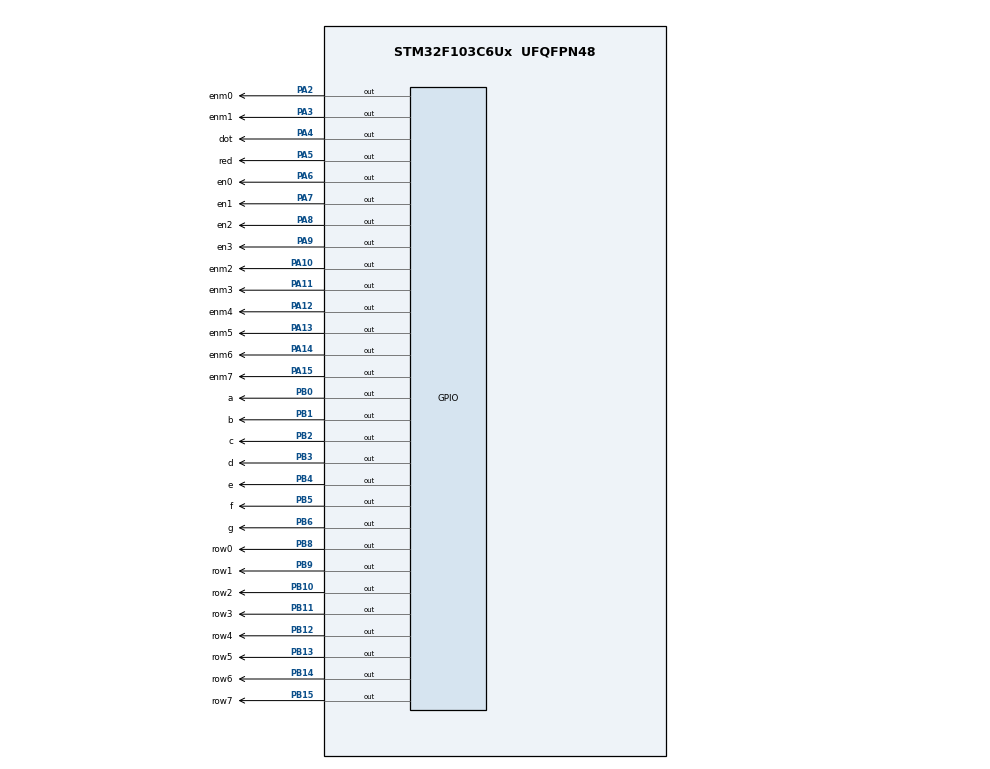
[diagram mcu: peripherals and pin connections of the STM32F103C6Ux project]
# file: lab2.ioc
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Mcu.Family=STM32F1
Mcu.Name=STM32F103C6Ux
Mcu.Package=UFQFPN48
NVIC.PriorityGroup=NVIC_PRIORITYGROUP_4
NVIC.TIM2_IRQn=true\:0\:0\:false\:false\:true\:true\:true
PA10.GPIO_Label=enm2
PA10.PinState=GPIO_PIN_RESET
PA10.Signal=GPIO_Output
PA11.GPIO_Label=enm3
PA11.PinState=GPIO_PIN_RESET
PA11.Signal=GPIO_Output
PA12.GPIO_Label=enm4
PA12.PinState=GPIO_PIN_RESET
PA12.Signal=GPIO_Output
PA13.GPIO_Label=enm5
PA13.PinState=GPIO_PIN_RESET
PA13.Signal=GPIO_Output
PA14.GPIO_Label=enm6
PA14.PinState=GPIO_PIN_RESET
PA14.Signal=GPIO_Output
PA15.GPIO_Label=enm7
PA15.PinState=GPIO_PIN_RESET
PA15.Signal=GPIO_Output
PA2.GPIO_Label=enm0
PA2.PinState=GPIO_PIN_RESET
PA2.Signal=GPIO_Output
PA3.GPIO_Label=enm1
PA3.PinState=GPIO_PIN_RESET
PA3.Signal=GPIO_Output
PA4.GPIO_Label=dot
PA4.Signal=GPIO_Output
PA5.GPIO_Label=red
PA5.Signal=GPIO_Output
PA6.GPIO_Label=en0
PA6.Signal=GPIO_Output
PA7.GPIO_Label=en1
PA7.PinState=GPIO_PIN_SET
PA7.Signal=GPIO_Output
PA8.GPIO_Label=en2
PA8.PinState=GPIO_PIN_SET
PA8.Signal=GPIO_Output
PA9.GPIO_Label=en3
PA9.PinState=GPIO_PIN_SET
PA9.Signal=GPIO_Output
PB0.GPIO_Label=a
PB0.PinState=GPIO_PIN_SET
PB0.Signal=GPIO_Output
PB1.GPIO_Label=b
PB1.Signal=GPIO_Output
PB10.GPIO_Label=row2
PB10.PinState=GPIO_PIN_SET
PB10.Signal=GPIO_Output
PB11.GPIO_Label=row3
PB11.PinState=GPIO_PIN_SET
PB11.Signal=GPIO_Output
PB12.GPIO_Label=row4
PB12.PinState=GPIO_PIN_SET
PB12.Signal=GPIO_Output
PB13.GPIO_Label=row5
PB13.PinState=GPIO_PIN_SET
PB13.Signal=GPIO_Output
PB14.GPIO_Label=row6
PB14.PinState=GPIO_PIN_SET
PB14.Signal=GPIO_Output
PB15.GPIO_Label=row7
PB15.PinState=GPIO_PIN_SET
PB15.Signal=GPIO_Output
PB2.GPIO_Label=c
PB2.Signal=GPIO_Output
PB3.GPIO_Label=d
PB3.Signal=GPIO_Output
PB4.GPIO_Label=e
PB4.Signal=GPIO_Output
PB5.GPIO_Label=f
PB5.Signal=GPIO_Output
PB6.GPIO_Label=g
PB6.Signal=GPIO_Output
PB8.GPIO_Label=row0
PB8.PinState=GPIO_PIN_SET
PB8.Signal=GPIO_Output
PB9.GPIO_Label=row1
PB9.PinState=GPIO_PIN_SET
PB9.Signal=GPIO_Output
ProjectManager.HeapSize=0x200
ProjectManager.StackSize=0x400
ProjectManager.TargetToolchain=STM32CubeIDE
RCC.APB1Freq_Value=8000000
RCC.APB2Freq_Value=8000000
TIM2.Period=9
TIM2.Prescaler=7999
VP_SYS_VS_ND.Mode=No_Debug
VP_TIM2_VS_ClockSourceINT.Mode=Internal
board=custom

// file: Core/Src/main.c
/* USER CODE BEGIN Header */
/**
  ******************************************************************************
  * @file           : main.c
  * @brief          : Main program body
  ******************************************************************************
  * @attention
  *
  * <h2><center>&copy; Copyright (c) 2023 STMicroelectronics.
  * All rights reserved.</center></h2>
  *
  * This software component is licensed by ST under BSD 3-Clause license,
  * the "License"; You may not use this file except in compliance with the
  * License. You may obtain a copy of the License at:
  *                        opensource.org/licenses/BSD-3-Clause
  *
  ******************************************************************************
  */
/* USER CODE END Header */
#include "main.h"

/* USER CODE BEGIN Includes */
#include "software_timer.h"

/* USER CODE END Includes */

TIM_HandleTypeDef htim2;

void SystemClock_Config(void);
static void MX_GPIO_Init(void);
static void MX_TIM2_Init(void);

/* USER CODE BEGIN 0 */
void display7SEG(int cnt){
	if (cnt == 0){
		HAL_GPIO_WritePin(a_GPIO_Port, a_Pin, GPIO_PIN_RESET);
		HAL_GPIO_WritePin(b_GPIO_Port, b_Pin, GPIO_PIN_RESET);
		HAL_GPIO_WritePin(c_GPIO_Port, c_Pin, GPIO_PIN_RESET);
		HAL_GPIO_WritePin(d_GPIO_Port, d_Pin, GPIO_PIN_RESET);
		HAL_GPIO_WritePin(e_GPIO_Port, e_Pin, GPIO_PIN_RESET);
		HAL_GPIO_WritePin(f_GPIO_Port, f_Pin, GPIO_PIN_RESET);
		HAL_GPIO_WritePin(g_GPIO_Port, g_Pin, GPIO_PIN_SET);
	}else if (cnt == 1){
		HAL_GPIO_WritePin(a_GPIO_Port, a_Pin, GPIO_PIN_SET);
		HAL_GPIO_WritePin(b_GPIO_Port, b_Pin, GPIO_PIN_RESET);
		HAL_GPIO_WritePin(c_GPIO_Port, c_Pin, GPIO_PIN_RESET);
		HAL_GPIO_WritePin(d_GPIO_Port, d_Pin, GPIO_PIN_SET);
		HAL_GPIO_WritePin(e_GPIO_Port, e_Pin, GPIO_PIN_SET);
		HAL_GPIO_WritePin(f_GPIO_Port, f_Pin, GPIO_PIN_SET);
		HAL_GPIO_WritePin(g_GPIO_Port, g_Pin, GPIO_PIN_SET);
	}else if (cnt == 2){
		HAL_GPIO_WritePin(a_GPIO_Port, a_Pin, GPIO_PIN_RESET);
		HAL_GPIO_WritePin(b_GPIO_Port, b_Pin, GPIO_PIN_RESET);
		HAL_GPIO_WritePin(c_GPIO_Port, c_Pin, GPIO_PIN_SET);
		HAL_GPIO_WritePin(d_GPIO_Port, d_Pin, GPIO_PIN_RESET);
		HAL_GPIO_WritePin(e_GPIO_Port, e_Pin, GPIO_PIN_RESET);
		HAL_GPIO_WritePin(f_GPIO_Port, f_Pin, GPIO_PIN_SET);
		HAL_GPIO_WritePin(g_GPIO_Port, g_Pin, GPIO_PIN_RESET);
	}else if (cnt == 3){
		HAL_GPIO_WritePin(a_GPIO_Port, a_Pin, GPIO_PIN_RESET);
		HAL_GPIO_WritePin(b_GPIO_Port, b_Pin, GPIO_PIN_RESET);
		HAL_GPIO_WritePin(c_GPIO_Port, c_Pin, GPIO_PIN_RESET);
		HAL_GPIO_WritePin(d_GPIO_Port, d_Pin, GPIO_PIN_RESET);
		HAL_GPIO_WritePin(e_GPIO_Port, e_Pin, GPIO_PIN_SET);
		HAL_GPIO_WritePin(f_GPIO_Port, f_Pin, GPIO_PIN_SET);
		HAL_GPIO_WritePin(g_GPIO_Port, g_Pin, GPIO_PIN_RESET);
	}else if (cnt == 4){
		HAL_GPIO_WritePin(a_GPIO_Port, a_Pin, GPIO_PIN_SET);
		HAL_GPIO_WritePin(b_GPIO_Port, b_Pin, GPIO_PIN_RESET);
		HAL_GPIO_WritePin(c_GPIO_Port, c_Pin, GPIO_PIN_RESET);
		HAL_GPIO_WritePin(d_GPIO_Port, d_Pin, GPIO_PIN_SET);
		HAL_GPIO_WritePin(e_GPIO_Port, e_Pin, GPIO_PIN_SET);
		HAL_GPIO_WritePin(f_GPIO_Port, f_Pin, GPIO_PIN_RESET);
		HAL_GPIO_WritePin(g_GPIO_Port, g_Pin, GPIO_PIN_RESET);
	}else if (cnt == 5){
		HAL_GPIO_WritePin(a_GPIO_Port, a_Pin, GPIO_PIN_RESET);
		HAL_GPIO_WritePin(b_GPIO_Port, b_Pin, GPIO_PIN_SET);
		HAL_GPIO_WritePin(c_GPIO_Port, c_Pin, GPIO_PIN_RESET);
		HAL_GPIO_WritePin(d_GPIO_Port, d_Pin, GPIO_PIN_RESET);
		HAL_GPIO_WritePin(e_GPIO_Port, e_Pin, GPIO_PIN_SET);
		HAL_GPIO_WritePin(f_GPIO_Port, f_Pin, GPIO_PIN_RESET);
		HAL_GPIO_WritePin(g_GPIO_Port, g_Pin, GPIO_PIN_RESET);
	}else if (cnt == 6){
		HAL_GPIO_WritePin(a_GPIO_Port, a_Pin, GPIO_PIN_RESET);
		HAL_GPIO_WritePin(b_GPIO_Port, b_Pin, GPIO_PIN_SET);
		HAL_GPIO_WritePin(c_GPIO_Port, c_Pin, GPIO_PIN_RESET);
		HAL_GPIO_WritePin(d_GPIO_Port, d_Pin, GPIO_PIN_RESET);
		HAL_GPIO_WritePin(e_GPIO_Port, e_Pin, GPIO_PIN_RESET);
		HAL_GPIO_WritePin(f_GPIO_Port, f_Pin, GPIO_PIN_RESET);
		HAL_GPIO_WritePin(g_GPIO_Port, g_Pin, GPIO_PIN_RESET);
	}else if (cnt == 7){
		HAL_GPIO_WritePin(a_GPIO_Port, a_Pin, GPIO_PIN_RESET);
		HAL_GPIO_WritePin(b_GPIO_Port, b_Pin, GPIO_PIN_RESET);
		HAL_GPIO_WritePin(c_GPIO_Port, c_Pin, GPIO_PIN_RESET);
		HAL_GPIO_WritePin(d_GPIO_Port, d_Pin, GPIO_PIN_SET);
		HAL_GPIO_WritePin(e_GPIO_Port, e_Pin, GPIO_PIN_SET);
		HAL_GPIO_WritePin(f_GPIO_Port, f_Pin, GPIO_PIN_SET);
		HAL_GPIO_WritePin(g_GPIO_Port, g_Pin, GPIO_PIN_SET);
	}else if (cnt == 8){
		HAL_GPIO_WritePin(a_GPIO_Port, a_Pin, GPIO_PIN_RESET);
		HAL_GPIO_WritePin(b_GPIO_Port, b_Pin, GPIO_PIN_RESET);
		HAL_GPIO_WritePin(c_GPIO_Port, c_Pin, GPIO_PIN_RESET);
		HAL_GPIO_WritePin(d_GPIO_Port, d_Pin, GPIO_PIN_RESET);
		HAL_GPIO_WritePin(e_GPIO_Port, e_Pin, GPIO_PIN_RESET);
		HAL_GPIO_WritePin(f_GPIO_Port, f_Pin, GPIO_PIN_RESET);
		HAL_GPIO_WritePin(g_GPIO_Port, g_Pin, GPIO_PIN_RESET);
	}else{
		HAL_GPIO_WritePin(a_GPIO_Port, a_Pin, GPIO_PIN_RESET);
		HAL_GPIO_WritePin(b_GPIO_Port, b_Pin, GPIO_PIN_RESET);
		HAL_GPIO_WritePin(c_GPIO_Port, c_Pin, GPIO_PIN_RESET);
		HAL_GPIO_WritePin(d_GPIO_Port, d_Pin, GPIO_PIN_RESET);
		HAL_GPIO_WritePin(e_GPIO_Port, e_Pin, GPIO_PIN_SET);
		HAL_GPIO_WritePin(f_GPIO_Port, f_Pin, GPIO_PIN_RESET);
		HAL_GPIO_WritePin(g_GPIO_Port, g_Pin, GPIO_PIN_RESET);
	}
}
/* USER CODE END 0 */

int main(void)
{

  /* MCU Configuration--------------------------------------------------------*/

  /* Reset of all peripherals, Initializes the Flash interface and the Systick. */
  HAL_Init();

  /* USER CODE BEGIN Init */
  setTimer1(50);
  setTimer2(100);
  int status = 1;
  /* USER CODE END Init */

  /* Configure the system clock */
  SystemClock_Config();

  /* USER CODE BEGIN SysInit */
  MX_GPIO_Init();
  MX_TIM2_Init();
  /* USER CODE END SysInit */

  /* Initialize all configured peripherals */
  MX_GPIO_Init();
  MX_TIM2_Init();
  /* USER CODE BEGIN 2 */
  HAL_TIM_Base_Start_IT (& htim2 ) ;
  /* USER CODE END 2 */

  /* Infinite loop */
  /* USER CODE BEGIN WHILE */
  while (1)
  {
	  switch(status){
	  case 1:
		  display7SEG(status);
		  if (timer1_flag == 1){
			  setTimer1(50);
			  status = 2;
			  HAL_GPIO_WritePin(en0_GPIO_Port, en0_Pin, SET);
			  HAL_GPIO_WritePin(en1_GPIO_Port, en1_Pin, RESET);
		  }break;
	  case 2:
		  display7SEG(status);
		  if (timer1_flag == 1){
			  setTimer1(50);
			  status = 1;
			  HAL_GPIO_WritePin(en0_GPIO_Port, en0_Pin, RESET);
			  HAL_GPIO_WritePin(en1_GPIO_Port, en1_Pin, SET);
		  }break;
	  default:
		  break;
	  }
	  if (timer2_flag == 1){
		  HAL_GPIO_TogglePin(red_GPIO_Port, red_Pin);
		  setTimer2(100);
	  }

    /* USER CODE END WHILE */

  }
}

void SystemClock_Config(void)
{
  RCC_OscInitTypeDef RCC_OscInitStruct = {0};
  RCC_ClkInitTypeDef RCC_ClkInitStruct = {0};

  /** Initializes the RCC Oscillators according to the specified parameters
  * in the RCC_OscInitTypeDef structure.
  */
  RCC_OscInitStruct.OscillatorType = RCC_OSCILLATORTYPE_HSI;
  RCC_OscInitStruct.HSIState = RCC_HSI_ON;
  RCC_OscInitStruct.HSICalibrationValue = RCC_HSICALIBRATION_DEFAULT;
  RCC_OscInitStruct.PLL.PLLState = RCC_PLL_NONE;
  if (HAL_RCC_OscConfig(&RCC_OscInitStruct) != HAL_OK)
  {
    Error_Handler();
  }
  /** Initializes the CPU, AHB and APB buses clocks
  */
  RCC_ClkInitStruct.ClockType = RCC_CLOCKTYPE_HCLK|RCC_CLOCKTYPE_SYSCLK
                              |RCC_CLOCKTYPE_PCLK1|RCC_CLOCKTYPE_PCLK2;
  RCC_ClkInitStruct.SYSCLKSource = RCC_SYSCLKSOURCE_HSI;
  RCC_ClkInitStruct.AHBCLKDivider = RCC_SYSCLK_DIV1;
  RCC_ClkInitStruct.APB1CLKDivider = RCC_HCLK_DIV1;
  RCC_ClkInitStruct.APB2CLKDivider = RCC_HCLK_DIV1;

  if (HAL_RCC_ClockConfig(&RCC_ClkInitStruct, FLASH_LATENCY_0) != HAL_OK)
  {
    Error_Handler();
  }
}

static void MX_TIM2_Init(void)
{

  TIM_ClockConfigTypeDef sClockSourceConfig = {0};
  TIM_MasterConfigTypeDef sMasterConfig = {0};

  htim2.Instance = TIM2;
  htim2.Init.Prescaler = 7999;
  htim2.Init.CounterMode = TIM_COUNTERMODE_UP;
  htim2.Init.Period = 9;
  htim2.Init.ClockDivision = TIM_CLOCKDIVISION_DIV1;
  htim2.Init.AutoReloadPreload = TIM_AUTORELOAD_PRELOAD_DISABLE;
  if (HAL_TIM_Base_Init(&htim2) != HAL_OK)
  {
    Error_Handler();
  }
  sClockSourceConfig.ClockSource = TIM_CLOCKSOURCE_INTERNAL;
  if (HAL_TIM_ConfigClockSource(&htim2, &sClockSourceConfig) != HAL_OK)
  {
    Error_Handler();
  }
  sMasterConfig.MasterOutputTrigger = TIM_TRGO_RESET;
  sMasterConfig.MasterSlaveMode = TIM_MASTERSLAVEMODE_DISABLE;
  if (HAL_TIMEx_MasterConfigSynchronization(&htim2, &sMasterConfig) != HAL_OK)
  {
    Error_Handler();
  }

}

static void MX_GPIO_Init(void)
{
  GPIO_InitTypeDef GPIO_InitStruct = {0};

  /* GPIO Ports Clock Enable */
  __HAL_RCC_GPIOA_CLK_ENABLE();
  __HAL_RCC_GPIOB_CLK_ENABLE();

  /*Configure GPIO pin Output Level */
  HAL_GPIO_WritePin(GPIOA, red_Pin|en0_Pin|en1_Pin, GPIO_PIN_RESET);

  /*Configure GPIO pin Output Level */
  HAL_GPIO_WritePin(GPIOB, a_Pin|b_Pin|c_Pin|d_Pin
                          |e_Pin|f_Pin|g_Pin, GPIO_PIN_RESET);

  /*Configure GPIO pins : red_Pin en0_Pin en1_Pin */
  GPIO_InitStruct.Pin = red_Pin|en0_Pin|en1_Pin;
  GPIO_InitStruct.Mode = GPIO_MODE_OUTPUT_PP;
  GPIO_InitStruct.Pull = GPIO_NOPULL;
  GPIO_InitStruct.Speed = GPIO_SPEED_FREQ_LOW;
  HAL_GPIO_Init(GPIOA, &GPIO_InitStruct);

  /*Configure GPIO pins : a_Pin b_Pin c_Pin d_Pin
                           e_Pin f_Pin g_Pin */
  GPIO_InitStruct.Pin = a_Pin|b_Pin|c_Pin|d_Pin
                          |e_Pin|f_Pin|g_Pin;
  GPIO_InitStruct.Mode = GPIO_MODE_OUTPUT_PP;
  GPIO_InitStruct.Pull = GPIO_NOPULL;
  GPIO_InitStruct.Speed = GPIO_SPEED_FREQ_LOW;
  HAL_GPIO_Init(GPIOB, &GPIO_InitStruct);

}

/* USER CODE BEGIN 4 */
void HAL_TIM_PeriodElapsedCallback ( TIM_HandleTypeDef * htim ){
	timerRun();
}
/* USER CODE END 4 */

void Error_Handler(void)
{
  __disable_irq();
  while (1)
  {
  }
}

/************************ (C) COPYRIGHT STMicroelectronics *****END OF FILE****/
